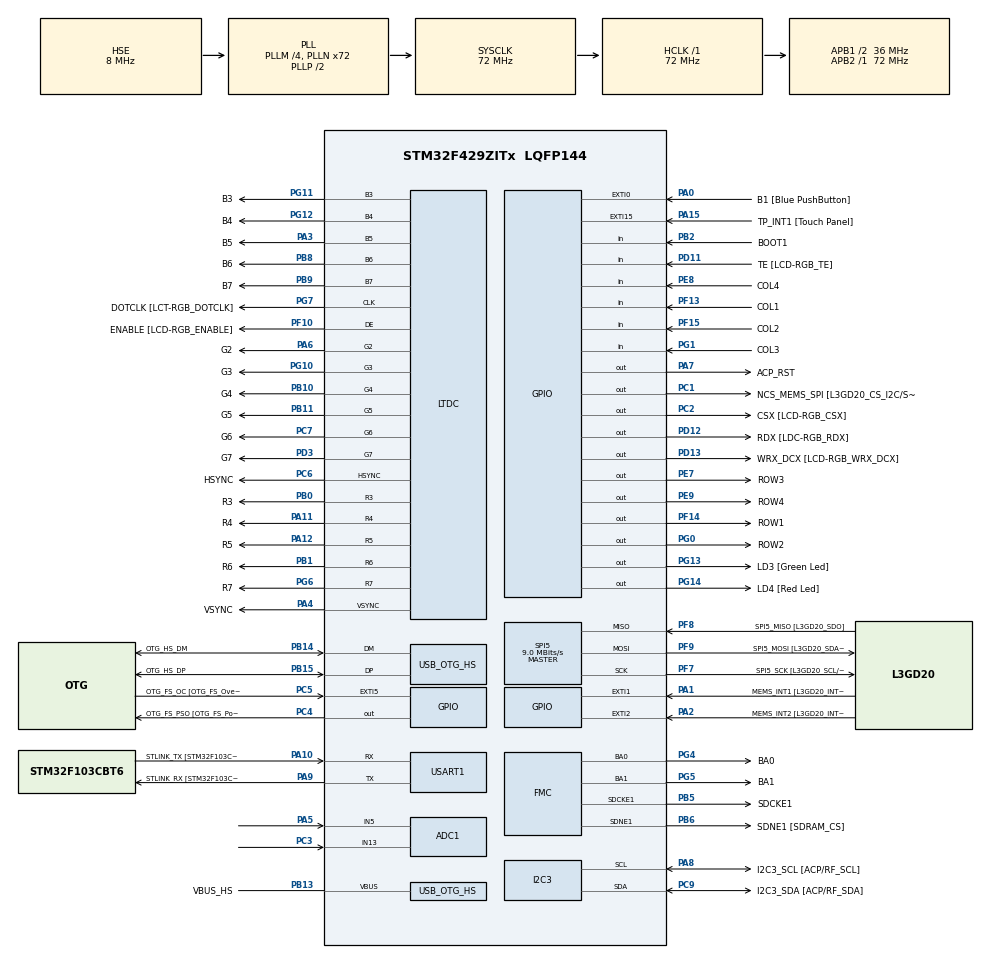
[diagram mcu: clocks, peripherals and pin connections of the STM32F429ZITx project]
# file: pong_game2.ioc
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ADC1.Channel-1\#ChannelRegularConversion=ADC_CHANNEL_5
ADC1.Channel-2\#ChannelRegularConversion=ADC_CHANNEL_13
ADC1.ClockPrescaler=ADC_CLOCK_SYNC_PCLK_DIV6
ADC1.ContinuousConvMode=ENABLE
ADC1.DMAContinuousRequests=ENABLE
ADC1.EOCSelection=ADC_EOC_SEQ_CONV
ADC1.NbrOfConversion=2
ADC1.NbrOfConversionFlag=1
ADC1.Rank-1\#ChannelRegularConversion=1
ADC1.Rank-2\#ChannelRegularConversion=2
ADC1.SamplingTime-1\#ChannelRegularConversion=ADC_SAMPLETIME_84CYCLES
ADC1.SamplingTime-2\#ChannelRegularConversion=ADC_SAMPLETIME_84CYCLES
ADC1.ScanConvMode=ENABLE
ADC1.master=1
Dma.ADC1.0.Direction=DMA_PERIPH_TO_MEMORY
Dma.ADC1.0.FIFOMode=DMA_FIFOMODE_DISABLE
Dma.ADC1.0.Instance=DMA2_Stream0
Dma.ADC1.0.MemDataAlignment=DMA_MDATAALIGN_HALFWORD
Dma.ADC1.0.MemInc=DMA_MINC_ENABLE
Dma.ADC1.0.Mode=DMA_NORMAL
Dma.ADC1.0.PeriphDataAlignment=DMA_PDATAALIGN_HALFWORD
Dma.ADC1.0.PeriphInc=DMA_PINC_DISABLE
Dma.ADC1.0.Priority=DMA_PRIORITY_LOW
Dma.Request0=ADC1
FMC.CASLatency1=FMC_SDRAM_CAS_LATENCY_3
FMC.ExitSelfRefreshDelay1=7
FMC.LoadToActiveDelay1=2
FMC.RCDDelay1=2
FMC.RPDelay1=2
FMC.ReadBurst1=FMC_SDRAM_RBURST_DISABLE
FMC.ReadPipeDelay1=FMC_SDRAM_RPIPE_DELAY_1
FMC.RowCycleDelay1=7
FMC.SDClockPeriod1=FMC_SDRAM_CLOCK_PERIOD_2
FMC.SelfRefreshTime1=4
FMC.WriteRecoveryTime1=3
FREERTOS.Tasks01=defaultTask,24,4096,StartDefaultTask,Default,NULL,Dynamic,NULL,NULL
FREERTOS.configCHECK_FOR_STACK_OVERFLOW=2
FREERTOS.configENABLE_FPU=1
FREERTOS.configTOTAL_HEAP_SIZE=32768
FREERTOS.configUSE_APPLICATION_TASK_TAG=1
FREERTOS.configUSE_COUNTING_SEMAPHORES=1
FREERTOS.configUSE_IDLE_HOOK=1
FREERTOS.configUSE_MALLOC_FAILED_HOOK=1
FREERTOS.configUSE_NEWLIB_REENTRANT=1
FREERTOS.configUSE_RECURSIVE_MUTEXES=1
LTDC.ActiveH=240
LTDC.ActiveW=320
Mcu.Family=STM32F4
Mcu.Name=STM32F429ZITx
Mcu.Package=LQFP144
NVIC.ADC_IRQn=true\:5\:0\:false\:false\:true\:true\:true\:true
NVIC.DMA2D_IRQn=true\:5\:0\:true\:false\:true\:true\:true\:true
NVIC.DMA2_Stream0_IRQn=true\:5\:0\:false\:false\:true\:true\:false\:true
NVIC.OTG_HS_IRQn=true\:5\:0\:false\:false\:true\:true\:true\:true
NVIC.PriorityGroup=NVIC_PRIORITYGROUP_4
NVIC.TIM6_DAC_IRQn=true\:15\:0\:false\:false\:true\:false\:false\:true
NVIC.TimeBase=TIM6_DAC_IRQn
NVIC.TimeBaseIP=TIM6
PA0/WKUP.GPIO_Label=B1 [Blue PushButton]
PA0/WKUP.GPIO_ModeDefaultEXTI=GPIO_MODE_EVT_RISING
PA0/WKUP.GPIO_PuPd=GPIO_NOPULL
PA0/WKUP.Signal=GPXTI0
PA1.GPIO_Label=MEMS_INT1 [L3GD20_INT1]
PA1.GPIO_ModeDefaultEXTI=GPIO_MODE_EVT_RISING
PA1.GPIO_PuPd=GPIO_NOPULL
PA1.Signal=GPXTI1
PA10.GPIO_Label=STLINK_TX [STM32F103CBT6_PA2]
PA10.Mode=Asynchronous
PA10.Signal=USART1_RX
PA11.GPIO_Label=R4
PA11.GPIO_Mode=GPIO_MODE_AF_PP
PA11.GPIO_PuPd=GPIO_NOPULL
PA11.GPIO_Speed=GPIO_SPEED_FREQ_LOW
PA11.Mode=RGB565
PA11.Signal=LTDC_R4
PA12.GPIO_Label=R5
PA12.GPIO_Mode=GPIO_MODE_AF_PP
PA12.GPIO_PuPd=GPIO_NOPULL
PA12.GPIO_Speed=GPIO_SPEED_FREQ_LOW
PA12.Mode=RGB565
PA12.Signal=LTDC_R5
PA13.GPIO_Label=SWDIO
PA13.Mode=Serial_Wire
PA13.Signal=SYS_JTMS-SWDIO
PA14.GPIO_Label=SWCLK
PA14.Mode=Serial_Wire
PA14.Signal=SYS_JTCK-SWCLK
PA15.GPIO_Label=TP_INT1 [Touch Panel]
PA15.GPIO_ModeDefaultEXTI=GPIO_MODE_EVT_RISING
PA15.GPIO_PuPd=GPIO_NOPULL
PA15.Signal=GPXTI15
PA2.GPIO_Label=MEMS_INT2 [L3GD20_INT2]
PA2.GPIO_ModeDefaultEXTI=GPIO_MODE_EVT_RISING
PA2.GPIO_PuPd=GPIO_NOPULL
PA2.Signal=GPXTI2
PA3.GPIO_Label=B5
PA3.GPIO_Mode=GPIO_MODE_AF_PP
PA3.GPIO_PuPd=GPIO_NOPULL
PA3.GPIO_Speed=GPIO_SPEED_FREQ_LOW
PA3.Mode=RGB565
PA3.Signal=LTDC_B5
PA4.GPIO_Label=VSYNC
PA4.GPIO_Mode=GPIO_MODE_AF_PP
PA4.GPIO_PuPd=GPIO_NOPULL
PA4.GPIO_Speed=GPIO_SPEED_FREQ_LOW
PA4.Mode=RGB565
PA4.Signal=LTDC_VSYNC
PA5.Signal=ADCx_IN5
PA6.GPIO_Label=G2
PA6.GPIO_Mode=GPIO_MODE_AF_PP
PA6.GPIO_PuPd=GPIO_NOPULL
PA6.GPIO_Speed=GPIO_SPEED_FREQ_LOW
PA6.Mode=RGB565
PA6.Signal=LTDC_G2
PA7.GPIO_Label=ACP_RST
PA7.GPIO_Mode=GPIO_MODE_OUTPUT_PP
PA7.GPIO_PuPd=GPIO_NOPULL
PA7.GPIO_Speed=GPIO_SPEED_FREQ_LOW
PA7.Signal=GPIO_Output
PA8.GPIO_Label=I2C3_SCL [ACP/RF_SCL]
PA8.GPIO_Mode=GPIO_MODE_AF_OD
PA8.GPIO_PuPd=GPIO_NOPULL
PA8.GPIO_Speed=GPIO_SPEED_FREQ_LOW
PA8.Mode=I2C
PA8.Signal=I2C3_SCL
PA9.GPIO_Label=STLINK_RX [STM32F103CBT6_PA3]
PA9.Mode=Asynchronous
PA9.Signal=USART1_TX
PB0.GPIO_Label=R3
PB0.GPIO_Mode=GPIO_MODE_AF_PP
PB0.GPIO_PuPd=GPIO_NOPULL
PB0.GPIO_Speed=GPIO_SPEED_FREQ_LOW
PB0.Mode=RGB565
PB0.Signal=LTDC_R3
PB1.GPIO_Label=R6
PB1.GPIO_Mode=GPIO_MODE_AF_PP
PB1.GPIO_PuPd=GPIO_NOPULL
PB1.GPIO_Speed=GPIO_SPEED_FREQ_LOW
PB1.Mode=RGB565
PB1.Signal=LTDC_R6
PB10.GPIO_Label=G4
PB10.GPIO_Mode=GPIO_MODE_AF_PP
PB10.GPIO_PuPd=GPIO_NOPULL
PB10.GPIO_Speed=GPIO_SPEED_FREQ_LOW
PB10.Mode=RGB565
PB10.Signal=LTDC_G4
PB11.GPIO_Label=G5
PB11.GPIO_Mode=GPIO_MODE_AF_PP
PB11.GPIO_PuPd=GPIO_NOPULL
PB11.GPIO_Speed=GPIO_SPEED_FREQ_LOW
PB11.Mode=RGB565
PB11.Signal=LTDC_G5
PB12.GPIO_Label=OTG_HS_ID
PB12.GPIO_Mode=GPIO_MODE_AF_PP
PB12.GPIO_PuPd=GPIO_NOPULL
PB12.GPIO_Speed=GPIO_SPEED_FREQ_LOW
PB12.Signal=USB_OTG_HS_ID
PB13.GPIO_Label=VBUS_HS
PB13.GPIO_Mode=GPIO_MODE_INPUT
PB13.GPIO_PuPd=GPIO_NOPULL
PB13.Mode=Activate_VBUS_FS
PB13.Signal=USB_OTG_HS_VBUS
PB14.GPIO_Label=OTG_HS_DM
PB14.GPIO_Mode=GPIO_MODE_AF_PP
PB14.GPIO_PuPd=GPIO_NOPULL
PB14.GPIO_Speed=GPIO_SPEED_FREQ_LOW
PB14.Mode=Host_FS
PB14.Signal=USB_OTG_HS_DM
PB15.GPIO_Label=OTG_HS_DP
PB15.GPIO_Mode=GPIO_MODE_AF_PP
PB15.GPIO_PuPd=GPIO_NOPULL
PB15.GPIO_Speed=GPIO_SPEED_FREQ_LOW
PB15.Mode=Host_FS
PB15.Signal=USB_OTG_HS_DP
PB2/BOOT1.GPIO_Label=BOOT1
PB2/BOOT1.GPIO_Mode=GPIO_MODE_INPUT
PB2/BOOT1.GPIO_PuPd=GPIO_NOPULL
PB2/BOOT1.Signal=GPIO_Input
PB5.GPIO_Label=SDCKE1
PB5.GPIO_Mode=GPIO_MODE_AF_PP
PB5.GPIO_PuPd=GPIO_NOPULL
PB5.GPIO_Speed=GPIO_SPEED_FREQ_VERY_HIGH
PB5.Mode=SdramChipSelect2_1
PB5.Signal=FMC_SDCKE1
PB6.GPIO_Label=SDNE1 [SDRAM_CS]
PB6.GPIO_Mode=GPIO_MODE_AF_PP
PB6.GPIO_PuPd=GPIO_NOPULL
PB6.GPIO_Speed=GPIO_SPEED_FREQ_VERY_HIGH
PB6.Mode=SdramChipSelect2_1
PB6.Signal=FMC_SDNE1
PB8.GPIO_Label=B6
PB8.GPIO_Mode=GPIO_MODE_AF_PP
PB8.GPIO_PuPd=GPIO_NOPULL
PB8.GPIO_Speed=GPIO_SPEED_FREQ_LOW
PB8.Mode=RGB565
PB8.Signal=LTDC_B6
PB9.GPIO_Label=B7
PB9.GPIO_Mode=GPIO_MODE_AF_PP
PB9.GPIO_PuPd=GPIO_NOPULL
PB9.GPIO_Speed=GPIO_SPEED_FREQ_LOW
PB9.Mode=RGB565
PB9.Signal=LTDC_B7
PC0.GPIO_Label=SDNWE
PC0.GPIO_Mode=GPIO_MODE_AF_PP
PC0.GPIO_PuPd=GPIO_NOPULL
PC0.GPIO_Speed=GPIO_SPEED_FREQ_VERY_HIGH
PC0.Signal=FMC_SDNWE
PC1.GPIO_Label=NCS_MEMS_SPI [L3GD20_CS_I2C/SPI]
PC1.GPIO_Mode=GPIO_MODE_OUTPUT_PP
PC1.GPIO_PuPd=GPIO_NOPULL
PC1.GPIO_Speed=GPIO_SPEED_FREQ_LOW
PC1.Signal=GPIO_Output
PC10.GPIO_Label=R2
PC10.GPIO_Mode=GPIO_MODE_AF_PP
PC10.GPIO_PuPd=GPIO_NOPULL
PC10.GPIO_Speed=GPIO_SPEED_FREQ_LOW
PC10.Signal=LTDC_R2
PC14/OSC32_IN.GPIO_Label=PC14-OSC32_IN
PC14/OSC32_IN.Signal=RCC_OSC32_IN
PC15/OSC32_OUT.GPIO_Label=PC15-OSC32_OUT
PC15/OSC32_OUT.Signal=RCC_OSC32_OUT
PC2.GPIO_Label=CSX [LCD-RGB_CSX]
PC2.GPIO_Mode=GPIO_MODE_OUTPUT_PP
PC2.GPIO_PuPd=GPIO_NOPULL
PC2.GPIO_Speed=GPIO_SPEED_FREQ_LOW
PC2.Signal=GPIO_Output
PC3.Signal=ADCx_IN13
PC4.GPIO_Label=OTG_FS_PSO [OTG_FS_PowerSwitchOn]
PC4.GPIO_Mode=GPIO_MODE_OUTPUT_PP
PC4.GPIO_PuPd=GPIO_NOPULL
PC4.GPIO_Speed=GPIO_SPEED_FREQ_LOW
PC4.Signal=GPIO_Output
PC5.GPIO_Label=OTG_FS_OC [OTG_FS_OverCurrent]
PC5.GPIO_ModeDefaultEXTI=GPIO_MODE_EVT_RISING
PC5.Signal=GPXTI5
PC6.GPIO_Label=HSYNC
PC6.GPIO_Mode=GPIO_MODE_AF_PP
PC6.GPIO_PuPd=GPIO_NOPULL
PC6.GPIO_Speed=GPIO_SPEED_FREQ_LOW
PC6.Mode=RGB565
PC6.Signal=LTDC_HSYNC
PC7.GPIO_Label=G6
PC7.GPIO_Mode=GPIO_MODE_AF_PP
PC7.GPIO_PuPd=GPIO_NOPULL
PC7.GPIO_Speed=GPIO_SPEED_FREQ_LOW
PC7.Mode=RGB565
PC7.Signal=LTDC_G6
PC9.GPIO_Label=I2C3_SDA [ACP/RF_SDA]
PC9.GPIO_Mode=GPIO_MODE_AF_OD
PC9.GPIO_PuPd=GPIO_NOPULL
PC9.GPIO_Speed=GPIO_SPEED_FREQ_LOW
PC9.Mode=I2C
PC9.Signal=I2C3_SDA
PD0.GPIO_Label=D2
PD0.GPIO_Mode=GPIO_MODE_AF_PP
PD0.GPIO_PuPd=GPIO_NOPULL
PD0.GPIO_Speed=GPIO_SPEED_FREQ_VERY_HIGH
PD0.Signal=FMC_D2_DA2
PD1.GPIO_Label=D3
PD1.GPIO_Mode=GPIO_MODE_AF_PP
PD1.GPIO_PuPd=GPIO_NOPULL
PD1.GPIO_Speed=GPIO_SPEED_FREQ_VERY_HIGH
PD1.Signal=FMC_D3_DA3
PD10.GPIO_Label=D15
PD10.GPIO_Mode=GPIO_MODE_AF_PP
PD10.GPIO_PuPd=GPIO_NOPULL
PD10.GPIO_Speed=GPIO_SPEED_FREQ_VERY_HIGH
PD10.Signal=FMC_D15_DA15
PD11.GPIO_Label=TE [LCD-RGB_TE]
PD11.GPIO_Mode=GPIO_MODE_INPUT
PD11.GPIO_PuPd=GPIO_NOPULL
PD11.Signal=GPIO_Input
PD12.GPIO_Label=RDX [LDC-RGB_RDX]
PD12.GPIO_Mode=GPIO_MODE_OUTPUT_PP
PD12.GPIO_PuPd=GPIO_NOPULL
PD12.GPIO_Speed=GPIO_SPEED_FREQ_LOW
PD12.Signal=GPIO_Output
PD13.GPIO_Label=WRX_DCX [LCD-RGB_WRX_DCX]
PD13.GPIO_Mode=GPIO_MODE_OUTPUT_PP
PD13.GPIO_PuPd=GPIO_NOPULL
PD13.GPIO_Speed=GPIO_SPEED_FREQ_LOW
PD13.Signal=GPIO_Output
PD14.GPIO_Label=D0
PD14.GPIO_Mode=GPIO_MODE_AF_PP
PD14.GPIO_PuPd=GPIO_NOPULL
PD14.GPIO_Speed=GPIO_SPEED_FREQ_VERY_HIGH
PD14.Signal=FMC_D0_DA0
PD15.GPIO_Label=D1
PD15.GPIO_Mode=GPIO_MODE_AF_PP
PD15.GPIO_PuPd=GPIO_NOPULL
PD15.GPIO_Speed=GPIO_SPEED_FREQ_VERY_HIGH
PD15.Signal=FMC_D1_DA1
PD3.GPIO_Label=G7
PD3.GPIO_Mode=GPIO_MODE_AF_PP
PD3.GPIO_PuPd=GPIO_NOPULL
PD3.GPIO_Speed=GPIO_SPEED_FREQ_LOW
PD3.Mode=RGB565
PD3.Signal=LTDC_G7
PD6.GPIO_Label=B2
PD6.GPIO_Mode=GPIO_MODE_AF_PP
PD6.GPIO_PuPd=GPIO_NOPULL
PD6.GPIO_Speed=GPIO_SPEED_FREQ_LOW
PD6.Signal=LTDC_B2
PD8.GPIO_Label=D13
PD8.GPIO_Mode=GPIO_MODE_AF_PP
PD8.GPIO_PuPd=GPIO_NOPULL
PD8.GPIO_Speed=GPIO_SPEED_FREQ_VERY_HIGH
PD8.Signal=FMC_D13_DA13
PD9.GPIO_Label=D14
PD9.GPIO_Mode=GPIO_MODE_AF_PP
PD9.GPIO_PuPd=GPIO_NOPULL
PD9.GPIO_Speed=GPIO_SPEED_FREQ_VERY_HIGH
PD9.Signal=FMC_D14_DA14
PE0.GPIO_Label=NBL0 [SDRAM_LDQM]
PE0.GPIO_Mode=GPIO_MODE_AF_PP
PE0.GPIO_PuPd=GPIO_NOPULL
PE0.GPIO_Speed=GPIO_SPEED_FREQ_VERY_HIGH
PE0.Signal=FMC_NBL0
PE1.GPIO_Label=NBL1 [SDRAM_UDQM]
PE1.GPIO_Mode=GPIO_MODE_AF_PP
PE1.GPIO_PuPd=GPIO_NOPULL
PE1.GPIO_Speed=GPIO_SPEED_FREQ_VERY_HIGH
PE1.Signal=FMC_NBL1
PE10.GPIO_Label=D7
PE10.GPIO_Mode=GPIO_MODE_AF_PP
PE10.GPIO_PuPd=GPIO_NOPULL
PE10.GPIO_Speed=GPIO_SPEED_FREQ_VERY_HIGH
PE10.Signal=FMC_D7_DA7
PE11.GPIO_Label=D8
PE11.GPIO_Mode=GPIO_MODE_AF_PP
PE11.GPIO_PuPd=GPIO_NOPULL
PE11.GPIO_Speed=GPIO_SPEED_FREQ_VERY_HIGH
PE11.Signal=FMC_D8_DA8
PE12.GPIO_Label=D9
PE12.GPIO_Mode=GPIO_MODE_AF_PP
PE12.GPIO_PuPd=GPIO_NOPULL
PE12.GPIO_Speed=GPIO_SPEED_FREQ_VERY_HIGH
PE12.Signal=FMC_D9_DA9
PE13.GPIO_Label=D10
PE13.GPIO_Mode=GPIO_MODE_AF_PP
PE13.GPIO_PuPd=GPIO_NOPULL
PE13.GPIO_Speed=GPIO_SPEED_FREQ_VERY_HIGH
PE13.Signal=FMC_D10_DA10
PE14.GPIO_Label=D11
PE14.GPIO_Mode=GPIO_MODE_AF_PP
PE14.GPIO_PuPd=GPIO_NOPULL
PE14.GPIO_Speed=GPIO_SPEED_FREQ_VERY_HIGH
PE14.Signal=FMC_D11_DA11
PE15.GPIO_Label=D12
PE15.GPIO_Mode=GPIO_MODE_AF_PP
PE15.GPIO_PuPd=GPIO_NOPULL
PE15.GPIO_Speed=GPIO_SPEED_FREQ_VERY_HIGH
PE15.Signal=FMC_D12_DA12
PE7.GPIO_Label=ROW3
PE7.PinState=GPIO_PIN_SET
PE7.Signal=GPIO_Output
PE8.GPIO_Label=COL4
PE8.GPIO_PuPd=GPIO_PULLUP
PE8.Signal=GPIO_Input
PE9.GPIO_Label=ROW4
PE9.PinState=GPIO_PIN_SET
PE9.Signal=GPIO_Output
PF0.GPIO_Label=A0
PF0.GPIO_Mode=GPIO_MODE_AF_PP
PF0.GPIO_PuPd=GPIO_NOPULL
PF0.GPIO_Speed=GPIO_SPEED_FREQ_VERY_HIGH
PF0.Signal=FMC_A0
PF1.GPIO_Label=A1
PF1.GPIO_Mode=GPIO_MODE_AF_PP
PF1.GPIO_PuPd=GPIO_NOPULL
PF1.GPIO_Speed=GPIO_SPEED_FREQ_VERY_HIGH
PF1.Signal=FMC_A1
PF10.GPIO_Label=ENABLE [LCD-RGB_ENABLE]
PF10.GPIO_Mode=GPIO_MODE_AF_PP
PF10.GPIO_PuPd=GPIO_NOPULL
PF10.GPIO_Speed=GPIO_SPEED_FREQ_LOW
PF10.Mode=RGB565
PF10.Signal=LTDC_DE
PF11.GPIO_Label=SDNRAS
PF11.GPIO_Mode=GPIO_MODE_AF_PP
PF11.GPIO_PuPd=GPIO_NOPULL
PF11.GPIO_Speed=GPIO_SPEED_FREQ_VERY_HIGH
PF11.Signal=FMC_SDNRAS
PF12.GPIO_Label=A6
PF12.GPIO_Mode=GPIO_MODE_AF_PP
PF12.GPIO_PuPd=GPIO_NOPULL
PF12.GPIO_Speed=GPIO_SPEED_FREQ_VERY_HIGH
PF12.Signal=FMC_A6
PF13.GPIO_Label=COL1
PF13.GPIO_PuPd=GPIO_PULLUP
PF13.Signal=GPIO_Input
PF14.GPIO_Label=ROW1
PF14.PinState=GPIO_PIN_SET
PF14.Signal=GPIO_Output
PF15.GPIO_Label=COL2
PF15.GPIO_PuPd=GPIO_PULLUP
PF15.Signal=GPIO_Input
PF2.GPIO_Label=A2
PF2.GPIO_Mode=GPIO_MODE_AF_PP
PF2.GPIO_PuPd=GPIO_NOPULL
PF2.GPIO_Speed=GPIO_SPEED_FREQ_VERY_HIGH
PF2.Signal=FMC_A2
PF3.GPIO_Label=A3
PF3.GPIO_Mode=GPIO_MODE_AF_PP
PF3.GPIO_PuPd=GPIO_NOPULL
PF3.GPIO_Speed=GPIO_SPEED_FREQ_VERY_HIGH
PF3.Signal=FMC_A3
PF4.GPIO_Label=A4
PF4.GPIO_Mode=GPIO_MODE_AF_PP
PF4.GPIO_PuPd=GPIO_NOPULL
PF4.GPIO_Speed=GPIO_SPEED_FREQ_VERY_HIGH
PF4.Signal=FMC_A4
PF5.GPIO_Label=A5
PF5.GPIO_Mode=GPIO_MODE_AF_PP
PF5.GPIO_PuPd=GPIO_NOPULL
PF5.GPIO_Speed=GPIO_SPEED_FREQ_VERY_HIGH
PF5.Signal=FMC_A5
PF7.GPIO_Label=SPI5_SCK [L3GD20_SCL/SPC]
PF7.GPIO_Mode=GPIO_MODE_AF_PP
PF7.GPIO_PuPd=GPIO_NOPULL
PF7.GPIO_Speed=GPIO_SPEED_FREQ_LOW
PF7.Mode=Full_Duplex_Master
PF7.Signal=SPI5_SCK
PF8.GPIO_Label=SPI5_MISO [L3GD20_SDO]
PF8.GPIO_Mode=GPIO_MODE_AF_PP
PF8.GPIO_PuPd=GPIO_NOPULL
PF8.GPIO_Speed=GPIO_SPEED_FREQ_LOW
PF8.Mode=Full_Duplex_Master
PF8.Signal=SPI5_MISO
PF9.GPIO_Label=SPI5_MOSI [L3GD20_SDA/SDI/SDO]
PF9.GPIO_Mode=GPIO_MODE_AF_PP
PF9.GPIO_PuPd=GPIO_NOPULL
PF9.GPIO_Speed=GPIO_SPEED_FREQ_LOW
PF9.Mode=Full_Duplex_Master
PF9.Signal=SPI5_MOSI
PG0.GPIO_Label=ROW2
PG0.PinState=GPIO_PIN_SET
PG0.Signal=GPIO_Output
PG1.GPIO_Label=COL3
PG1.GPIO_PuPd=GPIO_PULLUP
PG1.Signal=GPIO_Input
PG10.GPIO_Label=G3
PG10.GPIO_Mode=GPIO_MODE_AF_PP
PG10.GPIO_PuPd=GPIO_NOPULL
PG10.GPIO_Speed=GPIO_SPEED_FREQ_LOW
PG10.Mode=RGB565
PG10.Signal=LTDC_G3
PG11.GPIO_Label=B3
PG11.GPIO_Mode=GPIO_MODE_AF_PP
PG11.GPIO_PuPd=GPIO_NOPULL
PG11.GPIO_Speed=GPIO_SPEED_FREQ_LOW
PG11.Mode=RGB565
PG11.Signal=LTDC_B3
PG12.GPIO_Label=B4
PG12.GPIO_Mode=GPIO_MODE_AF_PP
PG12.GPIO_PuPd=GPIO_NOPULL
PG12.GPIO_Speed=GPIO_SPEED_FREQ_LOW
PG12.Mode=RGB565
PG12.Signal=LTDC_B4
PG13.GPIO_Label=LD3 [Green Led]
PG13.GPIO_Mode=GPIO_MODE_OUTPUT_PP
PG13.GPIO_PuPd=GPIO_NOPULL
PG13.GPIO_Speed=GPIO_SPEED_FREQ_LOW
PG13.Signal=GPIO_Output
PG14.GPIO_Label=LD4 [Red Led]
PG14.GPIO_Mode=GPIO_MODE_OUTPUT_PP
PG14.GPIO_PuPd=GPIO_NOPULL
PG14.GPIO_Speed=GPIO_SPEED_FREQ_LOW
PG14.Signal=GPIO_Output
PG15.GPIO_Label=SDNCAS
PG15.GPIO_Mode=GPIO_MODE_AF_PP
PG15.GPIO_PuPd=GPIO_NOPULL
PG15.GPIO_Speed=GPIO_SPEED_FREQ_VERY_HIGH
PG15.Signal=FMC_SDNCAS
PG4.GPIO_Label=BA0
PG4.GPIO_Mode=GPIO_MODE_AF_PP
PG4.GPIO_PuPd=GPIO_NOPULL
PG4.GPIO_Speed=GPIO_SPEED_FREQ_VERY_HIGH
PG4.Signal=FMC_A14_BA0
PG5.GPIO_Label=BA1
PG5.GPIO_Mode=GPIO_MODE_AF_PP
PG5.GPIO_PuPd=GPIO_NOPULL
PG5.GPIO_Speed=GPIO_SPEED_FREQ_VERY_HIGH
PG5.Signal=FMC_A15_BA1
PG6.GPIO_Label=R7
PG6.GPIO_Mode=GPIO_MODE_AF_PP
PG6.GPIO_PuPd=GPIO_NOPULL
PG6.GPIO_Speed=GPIO_SPEED_FREQ_LOW
PG6.Mode=RGB565
PG6.Signal=LTDC_R7
PG7.GPIO_Label=DOTCLK [LCT-RGB_DOTCLK]
PG7.GPIO_Mode=GPIO_MODE_AF_PP
PG7.GPIO_PuPd=GPIO_NOPULL
PG7.GPIO_Speed=GPIO_SPEED_FREQ_LOW
PG7.Mode=RGB565
PG7.Signal=LTDC_CLK
PG8.GPIO_Label=SDCLK
PG8.GPIO_Mode=GPIO_MODE_AF_PP
PG8.GPIO_PuPd=GPIO_NOPULL
PG8.GPIO_Speed=GPIO_SPEED_FREQ_VERY_HIGH
PG8.Signal=FMC_SDCLK
PH0/OSC_IN.GPIO_Label=PH0-OSC_IN
PH0/OSC_IN.Mode=HSE-External-Oscillator
PH0/OSC_IN.Signal=RCC_OSC_IN
PH1/OSC_OUT.GPIO_Label=PH1-OSC_OUT
PH1/OSC_OUT.Mode=HSE-External-Oscillator
PH1/OSC_OUT.Signal=RCC_OSC_OUT
ProjectManager.HeapSize=0x200
ProjectManager.StackSize=0x400
ProjectManager.TargetToolchain=STM32CubeIDE
RCC.48MHZClocksFreq_Value=48000000
RCC.AHBFreq_Value=72000000
RCC.APB1CLKDivider=RCC_HCLK_DIV2
RCC.APB1Freq_Value=36000000
RCC.APB1TimFreq_Value=72000000
RCC.APB2Freq_Value=72000000
RCC.APB2TimFreq_Value=72000000
RCC.CortexFreq_Value=72000000
RCC.HCLKFreq_Value=72000000
RCC.HSE_VALUE=8000000
RCC.HSI_VALUE=16000000
RCC.LSE_VALUE=32768
RCC.PLLM=4
RCC.PLLN=72
RCC.PLLQ=3
RCC.PLLSAIN=50
RCC.SYSCLKFreq_VALUE=72000000
RCC.SYSCLKSource=RCC_SYSCLKSOURCE_PLLCLK
RCC.VCOOutputFreq_Value=144000000
SH.ADCx_IN13.0=ADC1_IN13,IN13
SH.ADCx_IN5.0=ADC1_IN5,IN5
SH.FMC_A0.0=FMC_A0
SH.FMC_A1.0=FMC_A1
SH.FMC_A14_BA0.0=FMC_BA0,FourSdramBanks1
SH.FMC_A15_BA1.0=FMC_BA1,FourSdramBanks1
SH.FMC_A2.0=FMC_A2
SH.FMC_A3.0=FMC_A3
SH.FMC_A4.0=FMC_A4
SH.FMC_A5.0=FMC_A5
SH.FMC_A6.0=FMC_A6
SH.FMC_D0_DA0.0=FMC_D0
SH.FMC_D10_DA10.0=FMC_D10
SH.FMC_D11_DA11.0=FMC_D11
SH.FMC_D12_DA12.0=FMC_D12
SH.FMC_D13_DA13.0=FMC_D13
SH.FMC_D14_DA14.0=FMC_D14
SH.FMC_D15_DA15.0=FMC_D15
SH.FMC_D1_DA1.0=FMC_D1
SH.FMC_D2_DA2.0=FMC_D2
SH.FMC_D3_DA3.0=FMC_D3
SH.FMC_D7_DA7.0=FMC_D7
SH.FMC_D8_DA8.0=FMC_D8
SH.FMC_D9_DA9.0=FMC_D9
SH.FMC_NBL0.0=FMC_NBL0
SH.FMC_NBL1.0=FMC_NBL1
SH.FMC_SDCLK.0=FMC_SDCLK
SH.FMC_SDNCAS.0=FMC_SDNCAS
SH.FMC_SDNRAS.0=FMC_SDNRAS
SH.FMC_SDNWE.0=FMC_SDNWE
SPI5.BaudRatePrescaler=SPI_BAUDRATEPRESCALER_8
SPI5.CalculateBaudRate=9.0 MBits/s
SPI5.Direction=SPI_DIRECTION_2LINES
SPI5.Mode=SPI_MODE_MASTER
SPI5.VirtualType=VM_MASTER
USART1.VirtualMode=VM_ASYNC
USB_HOST.BSP.number=1
USB_HOST.USBH_HandleTypeDef-CDC_HS=hUsbHostHS
USB_HOST.VirtualModeHS=Cdc
USB_HOST0.BSP.STBoard=false
USB_HOST0.BSP.api=UnknownBspDriver
USB_HOST0.BSP.i2caddr=0
USB_HOST0.BSP.i2creg=0
USB_HOST0.BSP.instance=PC4
USB_HOST0.BSP.ip=GPIO
USB_HOST0.BSP.mode=Output
USB_HOST0.BSP.name=Drive_VBUS_HS
USB_HOST0.BSP.solution=PC4
USB_OTG_HS.VirtualMode-Host_FS=Host_FS
VP_CRC_VS_CRC.Mode=CRC_Activate
VP_DMA2D_VS_DMA2D.Mode=DMA2D_Activate
VP_FREERTOS_VS_CMSIS_V2.Mode=CMSIS_V2
VP_SYS_VS_tim6.Mode=TIM6
VP_TIM1_VS_ClockSourceINT.Mode=Internal
VP_USB_HOST_VS_USB_HOST_CDC_HS.Mode=CDC_HS
board=STM32F429I-DISC1

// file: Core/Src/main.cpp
/* USER CODE BEGIN Header */
/**
  ******************************************************************************
  * @file           : main.c
  * @brief          : Main program body
  ******************************************************************************
  * @attention
  *
  * Copyright (c) 2022 STMicroelectronics.
  * All rights reserved.
  *
  * This software is licensed under terms that can be found in the LICENSE file
  * in the root directory of this software component.
  * If no LICENSE file comes with this software, it is provided AS-IS.
  *
  ******************************************************************************
  */
/* USER CODE END Header */
#include "main.h"
#include "cmsis_os.h"
#include "adc.h"
#include "crc.h"
#include "dma.h"
#include "dma2d.h"
#include "i2c.h"
#include "ltdc.h"
#include "spi.h"
#include "tim.h"
#include "usart.h"
#include "usb_host.h"
#include "gpio.h"
#include "fmc.h"

/* USER CODE BEGIN Includes */
#include "digital_output.h"
#include "keyboard.h"
#include "joystick.h"
#include "display.h"
#include "pong.h"
#include "dwt_stm32_delay.h"
/* USER CODE END Includes */

void SystemClock_Config(void);
void MX_FREERTOS_Init(void);
/* USER CODE BEGIN PFP */
void MX_FREERTOS_Init(void){}
/* USER CODE END PFP */

/* USER CODE BEGIN 0 */
ADC_HandleTypeDef& joystick::adc_handle{ hadc1 };

osThreadAttr_t kbd_task_attr;
osThreadAttr_t joystick_task_attr;
osThreadAttr_t display_task_attr;
osThreadAttr_t pong_task_attr;
/* USER CODE END 0 */

int main(void)
{
  /* USER CODE BEGIN 1 */
	kbd_task_attr.name = "inputProcess";
	kbd_task_attr.stack_size = 128 * 15;
	kbd_task_attr.priority = osPriorityLow;
	kbd_task_attr.cb_mem = NULL;

	joystick_task_attr.name = "inputControl";
	joystick_task_attr.stack_size = 128 * 15;
	joystick_task_attr.priority = osPriorityNormal;
	joystick_task_attr.cb_mem = NULL;

	display_task_attr.name = "SPISimpleText";
	display_task_attr.stack_size = 128 * 30;
	display_task_attr.priority = osPriorityNormal;
	display_task_attr.cb_mem = NULL;

	pong_task_attr.name = "pongGame";
	pong_task_attr.stack_size = 128 * 35;
	pong_task_attr.priority = osPriorityLow;
	pong_task_attr.cb_mem = NULL;
  /* USER CODE END 1 */

  /* MCU Configuration--------------------------------------------------------*/

  /* Reset of all peripherals, Initializes the Flash interface and the Systick. */
  HAL_Init();

  /* Configure the system clock */
  SystemClock_Config();

  /* Initialize all configured peripherals */
  MX_GPIO_Init();
  MX_CRC_Init();
  MX_DMA2D_Init();
  MX_FMC_Init();
  MX_I2C3_Init();
  MX_LTDC_Init();
  MX_SPI5_Init();
  MX_TIM1_Init();
  MX_USART1_UART_Init();
  MX_DMA_Init();
  MX_ADC1_Init();
  /* USER CODE BEGIN 2 */
  DWT_Delay_Init();
  osThreadNew(keyboard::inputProcess, NULL, &kbd_task_attr);
  osThreadNew(joystick::inputControl, NULL, &joystick_task_attr);
  osThreadNew(display::SPIsimpleText, NULL, &display_task_attr);
  osThreadNew(pong::pongGame, NULL, &display_task_attr);
  /* USER CODE END 2 */

  /* Init scheduler */
  osKernelInitialize();  /* Call init function for freertos objects (in freertos.c) */
  MX_FREERTOS_Init();
  /* Start scheduler */
  osKernelStart();

  /* We should never get here as control is now taken by the scheduler */
  /* Infinite loop */
  while (1)
  {

  }
}

void SystemClock_Config(void)
{
  RCC_OscInitTypeDef RCC_OscInitStruct = {0};
  RCC_ClkInitTypeDef RCC_ClkInitStruct = {0};

  /** Configure the main internal regulator output voltage
  */
  __HAL_RCC_PWR_CLK_ENABLE();
  __HAL_PWR_VOLTAGESCALING_CONFIG(PWR_REGULATOR_VOLTAGE_SCALE3);
  /** Initializes the RCC Oscillators according to the specified parameters
  * in the RCC_OscInitTypeDef structure.
  */
  RCC_OscInitStruct.OscillatorType = RCC_OSCILLATORTYPE_HSE;
  RCC_OscInitStruct.HSEState = RCC_HSE_ON;
  RCC_OscInitStruct.PLL.PLLState = RCC_PLL_ON;
  RCC_OscInitStruct.PLL.PLLSource = RCC_PLLSOURCE_HSE;
  RCC_OscInitStruct.PLL.PLLM = 4;
  RCC_OscInitStruct.PLL.PLLN = 72;
  RCC_OscInitStruct.PLL.PLLP = RCC_PLLP_DIV2;
  RCC_OscInitStruct.PLL.PLLQ = 3;
  if (HAL_RCC_OscConfig(&RCC_OscInitStruct) != HAL_OK)
  {
    Error_Handler();
  }
  /** Initializes the CPU, AHB and APB buses clocks
  */
  RCC_ClkInitStruct.ClockType = RCC_CLOCKTYPE_HCLK|RCC_CLOCKTYPE_SYSCLK
                              |RCC_CLOCKTYPE_PCLK1|RCC_CLOCKTYPE_PCLK2;
  RCC_ClkInitStruct.SYSCLKSource = RCC_SYSCLKSOURCE_PLLCLK;
  RCC_ClkInitStruct.AHBCLKDivider = RCC_SYSCLK_DIV1;
  RCC_ClkInitStruct.APB1CLKDivider = RCC_HCLK_DIV2;
  RCC_ClkInitStruct.APB2CLKDivider = RCC_HCLK_DIV1;

  if (HAL_RCC_ClockConfig(&RCC_ClkInitStruct, FLASH_LATENCY_2) != HAL_OK)
  {
    Error_Handler();
  }
}

/* USER CODE BEGIN 4 */
void HAL_ADC_ConvCpltCallback(ADC_HandleTypeDef* hadc){
	joystick::adc_callback();
}
/* USER CODE END 4 */

void HAL_TIM_PeriodElapsedCallback(TIM_HandleTypeDef *htim)
{
  if (htim->Instance == TIM6) {
    HAL_IncTick();
  }
}

void Error_Handler(void)
{
  __disable_irq();
  while (1)
  {
  }
}

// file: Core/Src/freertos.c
/* USER CODE BEGIN Header */
/**
  ******************************************************************************
  * File Name          : freertos.c
  * Description        : Code for freertos applications
  ******************************************************************************
  * @attention
  *
  * Copyright (c) 2022 STMicroelectronics.
  * All rights reserved.
  *
  * This software is licensed under terms that can be found in the LICENSE file
  * in the root directory of this software component.
  * If no LICENSE file comes with this software, it is provided AS-IS.
  *
  ******************************************************************************
  */
/* USER CODE END Header */

#include "FreeRTOS.h"
#include "task.h"
#include "main.h"
#include "cmsis_os.h"

/* Definitions for defaultTask */
osThreadId_t defaultTaskHandle;
const osThreadAttr_t defaultTask_attributes = {
  .name = "defaultTask",
  .stack_size = 4096 * 4,
  .priority = (osPriority_t) osPriorityNormal,
};

void StartDefaultTask(void *argument);

extern void MX_USB_HOST_Init(void);
void MX_FREERTOS_Init(void); /* (MISRA C 2004 rule 8.1) */

/* Hook prototypes */
void vApplicationIdleHook(void);
void vApplicationStackOverflowHook(xTaskHandle xTask, signed char *pcTaskName);
void vApplicationMallocFailedHook(void);

/* USER CODE BEGIN 2 */
__weak void vApplicationIdleHook( void )
{
   /* vApplicationIdleHook() will only be called if configUSE_IDLE_HOOK is set
   to 1 in FreeRTOSConfig.h. It will be called on each iteration of the idle
   task. It is essential that code added to this hook function never attempts
   to block in any way (for example, call xQueueReceive() with a block time
   specified, or call vTaskDelay()). If the application makes use of the
   vTaskDelete() API function (as this demo application does) then it is also
   important that vApplicationIdleHook() is permitted to return to its calling
   function, because it is the responsibility of the idle task to clean up
   memory allocated by the kernel to any task that has since been deleted. */
}
/* USER CODE END 2 */

/* USER CODE BEGIN 4 */
__weak void vApplicationStackOverflowHook(xTaskHandle xTask, signed char *pcTaskName)
{
   /* Run time stack overflow checking is performed if
   configCHECK_FOR_STACK_OVERFLOW is defined to 1 or 2. This hook function is
   called if a stack overflow is detected. */
}
/* USER CODE END 4 */

/* USER CODE BEGIN 5 */
__weak void vApplicationMallocFailedHook(void)
{
   /* vApplicationMallocFailedHook() will only be called if
   configUSE_MALLOC_FAILED_HOOK is set to 1 in FreeRTOSConfig.h. It is a hook
   function that will get called if a call to pvPortMalloc() fails.
   pvPortMalloc() is called internally by the kernel whenever a task, queue,
   timer or semaphore is created. It is also called by various parts of the
   demo application. If heap_1.c or heap_2.c are used, then the size of the
   heap available to pvPortMalloc() is defined by configTOTAL_HEAP_SIZE in
   FreeRTOSConfig.h, and the xPortGetFreeHeapSize() API function can be used
   to query the size of free heap space that remains (although it does not
   provide information on how the remaining heap might be fragmented). */
}
/* USER CODE END 5 */

void MX_FREERTOS_Init(void) {

  /* Create the thread(s) */
  /* creation of defaultTask */
  defaultTaskHandle = osThreadNew(StartDefaultTask, NULL, &defaultTask_attributes);

}

void StartDefaultTask(void *argument)
{
  /* init code for USB_HOST */
  MX_USB_HOST_Init();
  for(;;)
  {
    osDelay(1);
  }
}
